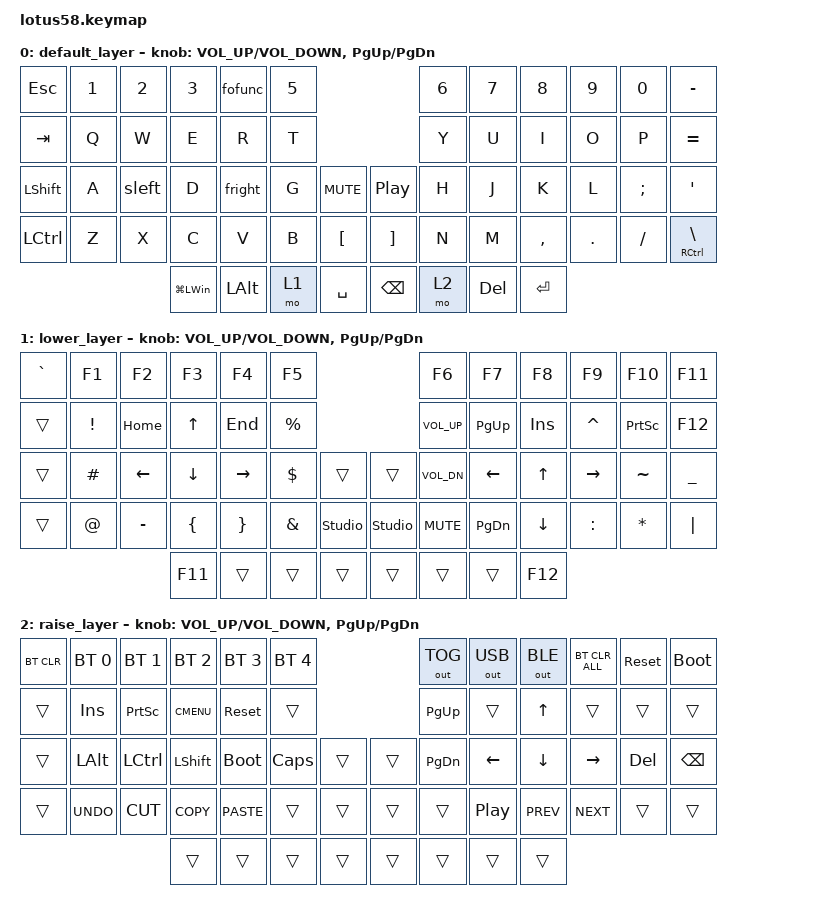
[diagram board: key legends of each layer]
/*
 * Copyright (c) 2022 The ZMK Contributors
 *
 * SPDX-License-Identifier: MIT
 */

#include <behaviors.dtsi>
#include <dt-bindings/zmk/bt.h>
#include <dt-bindings/zmk/keys.h>
#include <dt-bindings/zmk/outputs.h>

/ {
    combos {
        compatible = "zmk,combos";

        combo_dsklg {
            timeout-ms = <100>;
            key-positions = <24 52>;
            layers = <0>;
            bindings = <&kp LGUI>;
        };
    };

    behaviors {
        fofunc: four_ffour {
            compatible = "zmk,behavior-mod-morph";
            #binding-cells = <0>;
            bindings = <&kp N4>, <&kp F4>;

            mods = <(MOD_LALT|MOD_RALT)>;
        };

        sleft: s_left {
            compatible = "zmk,behavior-mod-morph";
            #binding-cells = <0>;
            bindings = <&kp S>, <&kp LEFT>;

            mods = <(MOD_LGUI|MOD_RGUI)>;
        };

        fright: f_right {
            compatible = "zmk,behavior-mod-morph";
            #binding-cells = <0>;
            bindings = <&kp F>, <&kp RIGHT>;

            mods = <(MOD_LGUI|MOD_RGUI)>;
        };
    };

    keymap {
        compatible = "zmk,keymap";

        default_layer {
            //   ------------------------------------------------------------------------------------------------------------
            //  0|  ESC  |  1  |  2  |  3   |  4   |  5   |                     |  6   |  7    |  8    |  9   |   0   |   =   | 11
            // 12|  TAB  |  Q  |  W  |  E   |  R   |  T   |                     |  Y   |  U    |  I    |  O   |   P   |   [   | 23
            // 24|  SFT  |  A  |  S  |  D   |  F   |  G   |  RESET  |  | RESET  |  H   |  J    |  K    |  L   |   ;   | ' SFT | 37
            // 38|  CTRL |  Z  |  X  |  C   |  V   |  B   |  MUTE   |  | PLAY   |  N   |  M    |  ,    |  .   |   /   | \ CTRL| 51
            // 52                    |ENT RS|  ALT | SPACE|DELETE LW|  |ENTER RS| BSPC |  ] LW | RGUI  |                        59

            bindings = <
&kp ESC    &kp N1  &kp N2  &kp N3            &fofunc   &kp N5                                       &kp N6  &kp N7      &kp N8     &kp N9   &kp N0    &kp MINUS
&kp TAB    &kp Q   &kp W   &kp E             &kp R     &kp T                                        &kp Y   &kp U       &kp I      &kp O    &kp P     &kp EQUAL
&kp LSHFT  &kp A   &sleft  &kp D             &fright   &kp G   &kp C_MUTE        &kp C_PLAY_PAUSE   &kp H   &kp J       &kp K      &kp L    &kp SEMI  &kp SQT
&kp LCTRL  &kp Z   &kp X   &kp C             &kp V     &kp B   &kp LEFT_BRACKET  &kp RIGHT_BRACKET  &kp N   &kp M       &kp COMMA  &kp DOT  &kp FSLH  &mt RCTRL BSLH
                           &kp LG(LEFT_WIN)  &kp LALT  &mo 1   &kp SPACE         &kp BACKSPACE      &mo 2   &kp DELETE  &kp ENTER
            >;

            sensor-bindings =
                <&inc_dec_kp C_VOLUME_UP C_VOLUME_DOWN>,
                <&inc_dec_kp PAGE_UP PAGE_DOWN>;
        };

        lower_layer {
            // ------------------------------------------------------------------------------------------------------------
            // | `     |  F1 |  F2 |  F3  |  F4  |  F5  |                   |  F6  |  F7   |  F8   |  F9  |  F10  |  F11  |
            // |       |  !  | HOME|   ^  |  END |  %   |                   | VOL^ |  PGUP |  INS  |  ^   |  PSCR |   -   |
            // |       |  #  |  <- |   v  | ->   |  $   |        |  |       | VOLv |    <- |   ^   |  ->  |   ~   |   _   |
            // |       |  @  |  -  |  (   |  )   |  &   |        |  |       | MUTE |  PGDN |   v   |  :   |   *   |   |   |
            //                     |  F11 |      |      |        |  |       |      |       |  F12  |

            bindings = <
&kp GRAVE  &kp F1    &kp F2     &kp F3    &kp F4     &kp F5                                     &kp F6        &kp F7     &kp F8    &kp F9     &kp F10    &kp F11
&trans     &kp EXCL  &kp HOME   &kp UP    &kp END    &kp PRCNT                                  &kp C_VOL_UP  &kp PG_UP  &kp INS   &kp CARET  &kp PSCRN  &kp F12
&trans     &kp HASH  &kp LEFT   &kp DOWN  &kp RIGHT  &kp DLLR   &trans          &trans          &kp C_VOL_DN  &kp LEFT   &kp UP    &kp RIGHT  &kp TILDE  &kp UNDER
&trans     &kp AT    &kp MINUS  &kp LBRC  &kp RBRC   &kp AMPS   &studio_unlock  &studio_unlock  &kp C_MUTE    &kp PG_DN  &kp DOWN  &kp COLON  &kp STAR   &kp PIPE
                                &kp F11   &trans     &trans     &trans          &trans          &trans        &trans     &kp F12
            >;

            sensor-bindings =
                <&inc_dec_kp C_VOLUME_UP C_VOLUME_DOWN>,
                <&inc_dec_kp PAGE_UP PAGE_DOWN>;
        };

        raise_layer {
            // ------------------------------------------------------------------------------------------------------------
            // |BTCLR| BT1  | BT2  |  BT3  |  BT4  |  BT5 |                |OUTTOG|OUTUSB| OUTBT |      | RESET | FLASH |
            // |     | INS  | PSCR | GUI   | RESET |      |                | PGUP |      |   ^   |      |       |       |
            // |     | ALT  | CTRL | SHIFT | FLASH | CAPS |      |  |      | PGDN |   <- |   v   |  ->  |  DEL  | BSPC  |
            // |     | UNDO | CUT  | COPY  | PASTE |      |      |  |      |      |  |>  |  <|<| | |>|> |       |       |
            //                     |       |       |      |      |  |      |      |      |       |

            bindings = <
&bt BT_CLR  &bt BT_SEL 0  &bt BT_SEL 1  &bt BT_SEL 2  &bt BT_SEL 3  &bt BT_SEL 4                  &out OUT_TOG  &out OUT_USB  &out OUT_BLE  &bt BT_CLR_ALL  &sys_reset  &bootloader
&trans      &kp INS       &kp PSCRN     &kp K_CMENU   &sys_reset    &trans                        &kp PG_UP     &trans        &kp UP        &trans          &trans      &trans
&trans      &kp LALT      &kp LCTRL     &kp LSHFT     &bootloader   &kp CLCK      &trans  &trans  &kp PG_DN     &kp LEFT      &kp DOWN      &kp RIGHT       &kp DEL     &kp BSPC
&trans      &kp K_UNDO    &kp K_CUT     &kp K_COPY    &kp K_PASTE   &trans        &trans  &trans  &trans        &kp C_PP      &kp C_PREV    &kp C_NEXT      &trans      &trans
                                        &trans        &trans        &trans        &trans  &trans  &trans        &trans        &trans
            >;

            sensor-bindings =
                <&inc_dec_kp C_VOLUME_UP C_VOLUME_DOWN>,
                <&inc_dec_kp PAGE_UP PAGE_DOWN>;
        };
    };
};
